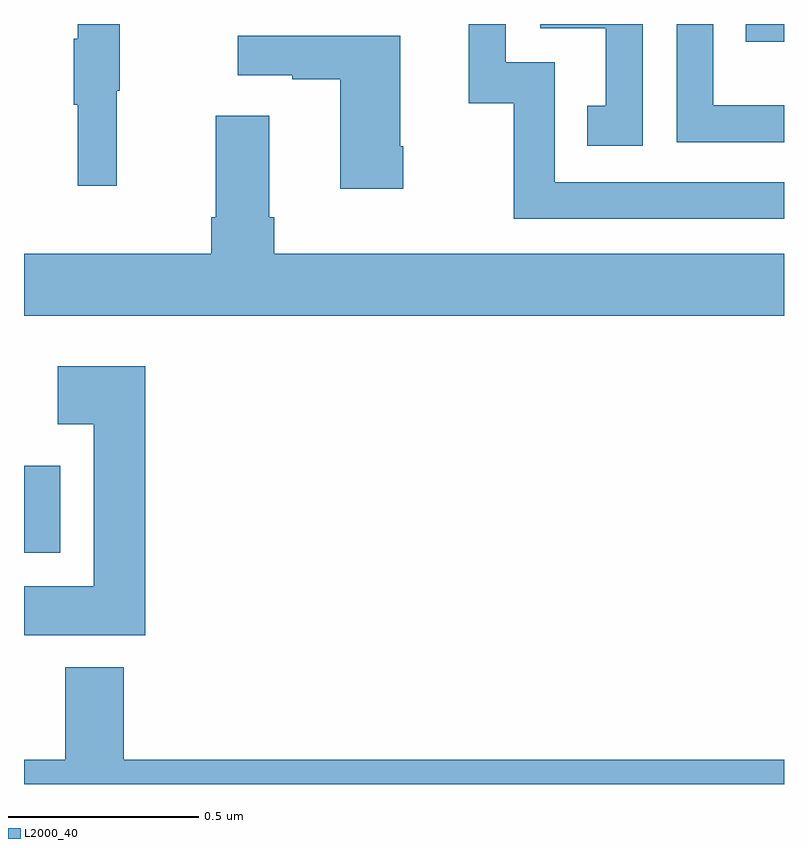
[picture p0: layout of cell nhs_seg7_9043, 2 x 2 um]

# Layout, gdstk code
import gdstk
lib = gdstk.Library(unit=1e-6, precision=1e-09)
def R(c, l, rs):  # rectangles x0, y0, x1, y1
    for r in rs: c.add(gdstk.rectangle(r[:2], r[2:], *l))
def P(c, l, *ps):  # polygons
    for p in ps: c.add(gdstk.Polygon(p, *l))
L2000_40 = (2000, 40)

nhs_seg7_9043 = lib.new_cell('nhs_seg7_9043')
R(nhs_seg7_9043, L2000_40, [(232,1050.608,232.096,1050.838), (233.899,1051.953,234,1052)])
P(nhs_seg7_9043, L2000_40, [(234,1051.584),(233.397,1051.584),(233.397,1051.899),(233.268,1051.899),(233.268,1052),(233.171,1052),(233.171,1051.791),(233.289,1051.791),(233.289,1051.488),(234,1051.488)],
  [(234,1051.786),(233.814,1051.786),(233.814,1052),(233.718,1052),(233.718,1051.689),(234,1051.689)],
  [(232.244,1051.824),(232.252,1051.824),(232.252,1052),(232.142,1052),(232.142,1051.961),(232.131,1051.961),(232.131,1051.787),(232.142,1051.787),(232.142,1051.575),(232.244,1051.575)],
  [(233.628,1052),(233.358,1052),(233.358,1051.989),(233.531,1051.989),(233.531,1051.785),(233.482,1051.785),(233.482,1051.68),(233.628,1051.68)],
  [(232.998,1051.678),(232.99,1051.678),(232.99,1051.969),(232.563,1051.969),(232.563,1051.865),(232.706,1051.865),(232.706,1051.855),(232.832,1051.855),(232.832,1051.566),(232.998,1051.566)],
  [(234,1051.396),(232.658,1051.396),(232.658,1051.492),(232.645,1051.492),(232.645,1051.759),(232.505,1051.759),(232.505,1051.492),(232.493,1051.492),(232.493,1051.396),(232,1051.396),(232,1051.232),(234,1051.232)],
  [(232.319,1051.099),(232.089,1051.099),(232.089,1050.947),(232.184,1050.947),(232.184,1050.52),(232,1050.52),(232,1050.392),(232.319,1050.392)],
  [(234,1050.064),(232.262,1050.064),(232.262,1050.307),(232.109,1050.307),(232.109,1050.064),(232,1050.064),(232,1050),(234,1050)])

lib.write_gds('nhs_seg7_9043.gds')
